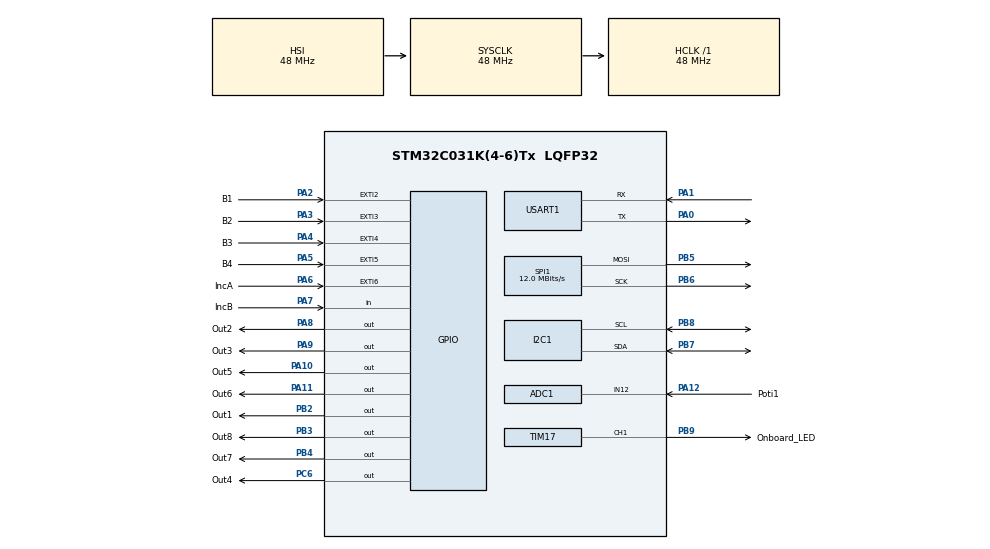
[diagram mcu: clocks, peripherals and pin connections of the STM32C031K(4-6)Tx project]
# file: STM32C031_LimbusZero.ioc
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ADC1.Channel-2\#ChannelRegularConversion=ADC_CHANNEL_12
ADC1.Channel-3\#ChannelRegularConversion=ADC_CHANNEL_TEMPSENSOR
ADC1.Channel-4\#ChannelRegularConversion=ADC_CHANNEL_VREFINT
ADC1.Channel-6\#ChannelRegularConversion=ADC_CHANNEL_VSSA
ADC1.ClockPrescaler=ADC_CLOCK_SYNC_PCLK_DIV4
ADC1.EOCSelection=ADC_EOC_SINGLE_CONV
ADC1.NbrOfConversion=4
ADC1.NbrOfConversionFlag=1
ADC1.Rank-2\#ChannelRegularConversion=1
ADC1.Rank-3\#ChannelRegularConversion=2
ADC1.Rank-4\#ChannelRegularConversion=3
ADC1.Rank-6\#ChannelRegularConversion=4
ADC1.SamplingTime-2\#ChannelRegularConversion=ADC_SAMPLINGTIME_COMMON_1
ADC1.SamplingTime-3\#ChannelRegularConversion=ADC_SAMPLINGTIME_COMMON_1
ADC1.SamplingTime-4\#ChannelRegularConversion=ADC_SAMPLINGTIME_COMMON_1
ADC1.SamplingTime-6\#ChannelRegularConversion=ADC_SAMPLINGTIME_COMMON_1
ADC1.SamplingTimeCommon1=ADC_SAMPLETIME_160CYCLES_5
ADC1.SamplingTimeCommon2=ADC_SAMPLETIME_160CYCLES_5
ADC1.SelectedChannel=ADC_CHANNEL_TEMPSENSOR|ADC_CHANNEL_VREFINT|ADC_CHANNEL_12|ADC_CHANNEL_VSSA
ADC1.master=1
Dma.ADC1.0.Direction=DMA_PERIPH_TO_MEMORY
Dma.ADC1.0.EventEnable=DISABLE
Dma.ADC1.0.Instance=DMA1_Channel1
Dma.ADC1.0.MemDataAlignment=DMA_MDATAALIGN_WORD
Dma.ADC1.0.MemInc=DMA_MINC_ENABLE
Dma.ADC1.0.Mode=DMA_CIRCULAR
Dma.ADC1.0.PeriphDataAlignment=DMA_PDATAALIGN_WORD
Dma.ADC1.0.PeriphInc=DMA_PINC_DISABLE
Dma.ADC1.0.Polarity=HAL_DMAMUX_REQ_GEN_RISING
Dma.ADC1.0.Priority=DMA_PRIORITY_MEDIUM
Dma.ADC1.0.RequestNumber=1
Dma.ADC1.0.SignalID=NONE
Dma.ADC1.0.SyncEnable=DISABLE
Dma.ADC1.0.SyncPolarity=HAL_DMAMUX_SYNC_NO_EVENT
Dma.ADC1.0.SyncRequestNumber=1
Dma.ADC1.0.SyncSignalID=NONE
Dma.Request0=ADC1
Dma.Request1=SPI1_TX
Dma.SPI1_TX.1.Direction=DMA_MEMORY_TO_PERIPH
Dma.SPI1_TX.1.EventEnable=DISABLE
Dma.SPI1_TX.1.Instance=DMA1_Channel2
Dma.SPI1_TX.1.MemDataAlignment=DMA_MDATAALIGN_HALFWORD
Dma.SPI1_TX.1.MemInc=DMA_MINC_ENABLE
Dma.SPI1_TX.1.Mode=DMA_NORMAL
Dma.SPI1_TX.1.PeriphDataAlignment=DMA_PDATAALIGN_HALFWORD
Dma.SPI1_TX.1.PeriphInc=DMA_PINC_DISABLE
Dma.SPI1_TX.1.Polarity=HAL_DMAMUX_REQ_GEN_RISING
Dma.SPI1_TX.1.Priority=DMA_PRIORITY_VERY_HIGH
Dma.SPI1_TX.1.RequestNumber=1
Dma.SPI1_TX.1.SignalID=NONE
Dma.SPI1_TX.1.SyncEnable=DISABLE
Dma.SPI1_TX.1.SyncPolarity=HAL_DMAMUX_SYNC_NO_EVENT
Dma.SPI1_TX.1.SyncRequestNumber=1
Dma.SPI1_TX.1.SyncSignalID=NONE
I2C1.Timing=0x20303E5D
Mcu.Family=STM32C0
Mcu.Name=STM32C031K(4-6)Tx
Mcu.Package=LQFP32
Mcu.UserConstants=ADC_NO_OF_CHANNELS,4
NVIC.DMA1_Channel1_IRQn=true\:0\:0\:false\:false\:true\:false\:true\:true
NVIC.DMA1_Channel2_3_IRQn=true\:0\:0\:false\:false\:true\:false\:true\:true
NVIC.EXTI2_3_IRQn=true\:0\:0\:false\:false\:true\:true\:true\:true
NVIC.EXTI4_15_IRQn=true\:0\:0\:false\:false\:true\:true\:true\:true
NVIC.TIM16_IRQn=true\:0\:0\:false\:false\:true\:true\:true\:true
NVIC.TIM17_IRQn=true\:0\:0\:false\:false\:true\:true\:true\:true
PA0.Mode=Asynchronous
PA0.Signal=USART1_TX
PA1.Mode=Asynchronous
PA1.Signal=USART1_RX
PA10.GPIO_Label=Out5
PA10.Signal=GPIO_Output
PA11\ [PA9].GPIO_Label=Out6
PA11\ [PA9].Signal=GPIO_Output
PA12\ [PA10].GPIO_Label=Poti1
PA12\ [PA10].GPIO_PuPd=GPIO_NOPULL
PA12\ [PA10].Mode=IN12
PA12\ [PA10].Signal=ADC1_IN12
PA13.Mode=Serial_Wire
PA13.Signal=DEBUG_SWDIO
PA14-BOOT0.Mode=Serial_Wire
PA14-BOOT0.Signal=DEBUG_SWCLK
PA2.GPIO_Label=B1
PA2.GPIO_ModeDefaultEXTI=GPIO_MODE_IT_FALLING
PA2.GPIO_PuPd=GPIO_PULLUP
PA2.Signal=GPXTI2
PA3.GPIO_Label=B2
PA3.GPIO_ModeDefaultEXTI=GPIO_MODE_IT_FALLING
PA3.GPIO_PuPd=GPIO_PULLUP
PA3.Signal=GPXTI3
PA4.GPIO_Label=B3
PA4.GPIO_ModeDefaultEXTI=GPIO_MODE_IT_FALLING
PA4.GPIO_PuPd=GPIO_PULLUP
PA4.Signal=GPXTI4
PA5.GPIO_Label=B4
PA5.GPIO_ModeDefaultEXTI=GPIO_MODE_IT_FALLING
PA5.GPIO_PuPd=GPIO_PULLUP
PA5.Signal=GPXTI5
PA6.GPIO_Label=IncA
PA6.GPIO_ModeDefaultEXTI=GPIO_MODE_IT_FALLING
PA6.GPIO_PuPd=GPIO_PULLUP
PA6.Signal=GPXTI6
PA7.GPIO_Label=IncB
PA7.GPIO_PuPd=GPIO_PULLUP
PA7.Signal=GPIO_Input
PA8.GPIO_Label=Out2
PA8.Signal=GPIO_Output
PA9.GPIO_Label=Out3
PA9.Signal=GPIO_Output
PB2.GPIO_Label=Out1
PB2.Signal=GPIO_Output
PB3.GPIO_Label=Out8
PB3.Signal=GPIO_Output
PB4.GPIO_Label=Out7
PB4.Signal=GPIO_Output
PB5.Mode=TX_Only_Simplex_Unidirect_Master
PB5.Signal=SPI1_MOSI
PB6.GPIO_PuPd=GPIO_PULLDOWN
PB6.GPIO_Speed=GPIO_SPEED_FREQ_HIGH
PB6.Mode=TX_Only_Simplex_Unidirect_Master
PB6.Signal=SPI1_SCK
PB7.Mode=I2C
PB7.Signal=I2C1_SDA
PB8.Mode=I2C
PB8.Signal=I2C1_SCL
PB9.GPIO_Label=Onboard_LED
PB9.Signal=S_TIM17_CH1
PC6.GPIO_Label=Out4
PC6.Signal=GPIO_Output
ProjectManager.HeapSize=0x200
ProjectManager.StackSize=0x400
ProjectManager.TargetToolchain=STM32CubeIDE
RCC.ADCCLockSelection=RCC_ADCCLKSOURCE_HSIKER
RCC.ADCFreq_Value=6000000
RCC.AHBFreq_Value=48000000
RCC.CortexFreq_Value=48000000
RCC.EXTERNAL_CLOCK_VALUE=12288000
RCC.HCLKFreq_Value=48000000
RCC.HSE_VALUE=8000000
RCC.HSIKERCLKDivider=RCC_HSIKER_DIV8
RCC.HSISYSCLKDivider=RCC_HSI_DIV1
RCC.HSI_VALUE=48000000
RCC.LSE_VALUE=32768
RCC.SYSCLKFreq_VALUE=48000000
SH.S_TIM17_CH1.0=TIM17_CH1,PWM Generation1 CH1
SPI1.BaudRatePrescaler=SPI_BAUDRATEPRESCALER_4
SPI1.CalculateBaudRate=12.0 MBits/s
SPI1.DataSize=SPI_DATASIZE_16BIT
SPI1.Direction=SPI_DIRECTION_2LINES
SPI1.Mode=SPI_MODE_MASTER
SPI1.VirtualType=VM_MASTER
TIM16.Period=10000-1
TIM16.Prescaler=48-1
TIM17.AutoReloadPreload=TIM_AUTORELOAD_PRELOAD_ENABLE
TIM17.Channel=TIM_CHANNEL_1
TIM17.ClockDivision=TIM_CLOCKDIVISION_DIV1
TIM17.Period=1024-1
TIM17.Prescaler=480-1
TIM17.Pulse=0
USART1.VirtualMode-Asynchronous=VM_ASYNC
VP_ADC1_TempSens_Input.Mode=IN-TempSens
VP_ADC1_Vref_Input.Mode=IN-Vrefint
VP_ADC1_Vssa_Input.Mode=IN-VSSA
VP_TIM16_VS_ClockSourceINT.Mode=Enable_Timer
VP_TIM17_VS_ClockSourceINT.Mode=Enable_Timer
board=custom

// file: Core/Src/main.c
/* USER CODE BEGIN Header */
/**
 ******************************************************************************
 * @file           : main.c
 * @brief          : Main program body
 ******************************************************************************
 * @attention
 *
 * Copyright (c) 2024 STMicroelectronics.
 * All rights reserved.
 *
 * This software is licensed under terms that can be found in the LICENSE file
 * in the root directory of this software component.
 * If no LICENSE file comes with this software, it is provided AS-IS.
 *
 *
 *
 *
 *
 *
 *
 * Onboard LED Blink Rate 2Hz
 * PSC = 4800-1
 * ARR = 5000-1
 * Channel_1 Puls = 2500-1
 *
 *
 *
 *
 *
 ******************************************************************************
 */
/* USER CODE END Header */
#include "main.h"
#include "adc.h"
#include "dma.h"
#include "i2c.h"
#include "spi.h"
#include "tim.h"
#include "usart.h"
#include "gpio.h"

/* USER CODE BEGIN Includes */
#include "breadboradIO.h"
#include "weICLED.h"
/* USER CODE END Includes */

/* USER CODE BEGIN PV */
void limbuszero_heartbeat(void);
/* USER CODE END PV */

void SystemClock_Config(void);
void PeriphCommonClock_Config(void);

int main(void)
{

  /* MCU Configuration--------------------------------------------------------*/

  /* Reset of all peripherals, Initializes the Flash interface and the Systick. */
  HAL_Init();

  /* Configure the system clock */
  SystemClock_Config();

/* Configure the peripherals common clocks */
  PeriphCommonClock_Config();

  /* Initialize all configured peripherals */
  MX_GPIO_Init();
  MX_DMA_Init();
  MX_SPI1_Init();
  MX_USART1_UART_Init();
  MX_I2C1_Init();
  MX_ADC1_Init();
  MX_TIM17_Init();
  MX_TIM16_Init();
  /* USER CODE BEGIN 2 */

	HAL_Delay(100);

	HAL_TIM_PWM_Start_IT(&htim17, TIM_CHANNEL_1);
	HAL_TIM_Base_Start_IT(&htim16);

	HAL_ADCEx_Calibration_Start(&hadc1);
	HAL_ADC_Start_DMA(&hadc1, g_adc_raw_values, ADC_NO_OF_CHANNELS);

	breadboardIO_init();

	/* run a demo if you like */
	//neopixel_demo();

  /* USER CODE END 2 */

  /* Infinite loop */
	while (1) {

	}
}

void SystemClock_Config(void)
{
  RCC_OscInitTypeDef RCC_OscInitStruct = {0};
  RCC_ClkInitTypeDef RCC_ClkInitStruct = {0};

  /** Initializes the RCC Oscillators according to the specified parameters
  * in the RCC_OscInitTypeDef structure.
  */
  RCC_OscInitStruct.OscillatorType = RCC_OSCILLATORTYPE_HSI;
  RCC_OscInitStruct.HSIState = RCC_HSI_ON;
  RCC_OscInitStruct.HSIDiv = RCC_HSI_DIV1;
  RCC_OscInitStruct.HSICalibrationValue = RCC_HSICALIBRATION_DEFAULT;
  if (HAL_RCC_OscConfig(&RCC_OscInitStruct) != HAL_OK)
  {
    Error_Handler();
  }

  /** Initializes the CPU, AHB and APB buses clocks
  */
  RCC_ClkInitStruct.ClockType = RCC_CLOCKTYPE_HCLK|RCC_CLOCKTYPE_SYSCLK
                              |RCC_CLOCKTYPE_PCLK1;
  RCC_ClkInitStruct.SYSCLKSource = RCC_SYSCLKSOURCE_HSI;
  RCC_ClkInitStruct.SYSCLKDivider = RCC_SYSCLK_DIV1;
  RCC_ClkInitStruct.AHBCLKDivider = RCC_HCLK_DIV1;
  RCC_ClkInitStruct.APB1CLKDivider = RCC_APB1_DIV1;

  if (HAL_RCC_ClockConfig(&RCC_ClkInitStruct, FLASH_LATENCY_1) != HAL_OK)
  {
    Error_Handler();
  }
}

void PeriphCommonClock_Config(void)
{
  RCC_PeriphCLKInitTypeDef PeriphClkInit = {0};

  /** Initializes the common peripherals clocks
  */
  PeriphClkInit.PeriphClockSelection = RCC_PERIPHCLK_HSIKER;
  PeriphClkInit.HSIKerClockDivider = RCC_HSIKER_DIV8;

  if (HAL_RCCEx_PeriphCLKConfig(&PeriphClkInit) != HAL_OK)
  {
    Error_Handler();
  }
}

/* USER CODE BEGIN 4 */

void limbuszero_heartbeat(void){
	static int8_t counter = 0;
	static uint8_t direction = 0; /* 0 => up, else => down */
	/* https://www.mikrocontroller.net/articles/LED-Fading */
//	const uint16_t pwmtable_8D[32] =
//	{
//	    0, 1, 2, 2, 2, 3, 3, 4, 5, 6, 7, 8, 10, 11, 13, 16, 19, 23,
//	    27, 32, 38, 45, 54, 64, 76, 91, 108, 128, 152, 181, 215, 255
//	};

	const uint16_t pwmtable_10[64] =
	{
	    0, 1, 1, 2, 2, 2, 2, 2, 3, 3, 3, 4, 4, 5, 5, 6, 6, 7, 8, 9, 10,
	    11, 12, 13, 15, 17, 19, 21, 23, 26, 29, 32, 36, 40, 44, 49, 55,
	    61, 68, 76, 85, 94, 105, 117, 131, 146, 162, 181, 202, 225, 250,
	    279, 311, 346, 386, 430, 479, 534, 595, 663, 739, 824, 918, 1023
	};

	__HAL_TIM_SET_COMPARE(&htim17, TIM_CHANNEL_1, pwmtable_10[counter]);

	/* counting up */
	if (direction == 0) {
		counter++;
		if (counter >= 64-1) {
			direction = 1;
		}
	/* counting down */
	} else {
		counter--;
		if (counter <= 0) {
			direction = 0;
		}
	}
}

void HAL_GPIO_EXTI_Falling_Callback(uint16_t GPIO_Pin) {
	breadbordIO_button_interrupt_callback(GPIO_Pin);
}

void HAL_ADC_ConvCpltCallback(ADC_HandleTypeDef *hadc) {
	HAL_ADC_Start_DMA(&hadc1, g_adc_raw_values, ADC_NO_OF_CHANNELS);
}

void HAL_TIM_PeriodElapsedCallback(TIM_HandleTypeDef *htim) {
	if (htim->Instance == TIM16) {
		limbuszero_heartbeat();
		breadboardIO_FSM();
	}
}

void HAL_TIM_PWM_PulseFinishedCallback(TIM_HandleTypeDef *htim) {
	__NOP();
}

/* USER CODE END 4 */

void Error_Handler(void)
{
	__disable_irq();
	while (1) {
	}
}
